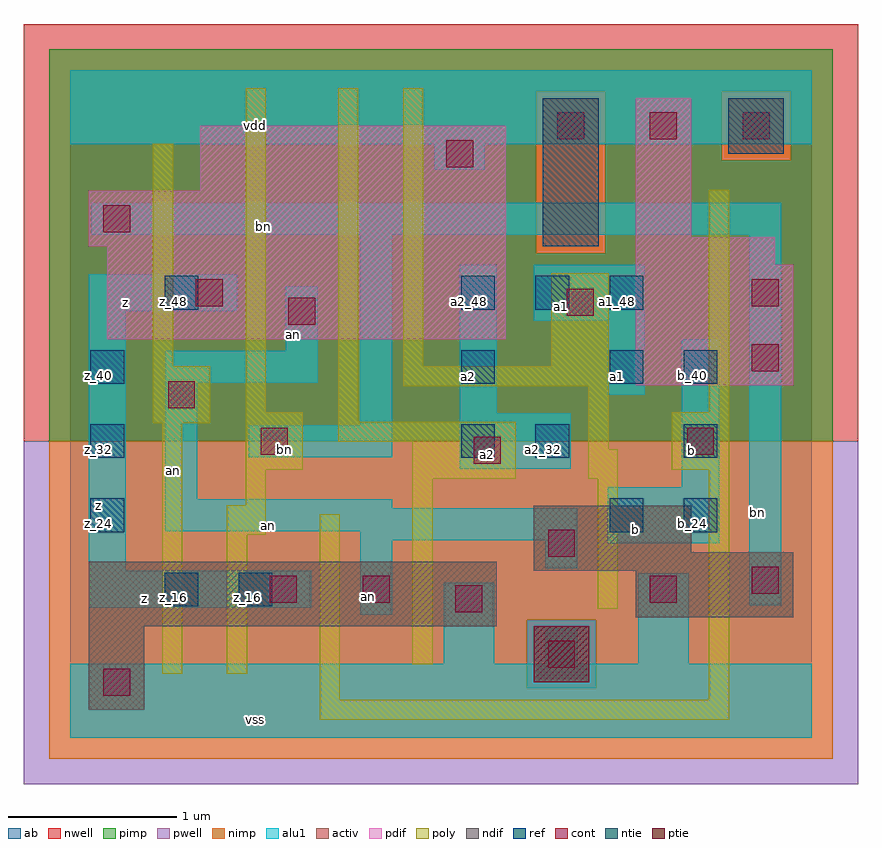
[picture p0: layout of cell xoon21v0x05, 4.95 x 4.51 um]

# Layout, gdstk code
import gdstk
lib = gdstk.Library(unit=1e-6, precision=2.5e-09)
def R(c, l, rs):  # rectangles x0, y0, x1, y1
    for r in rs: c.add(gdstk.rectangle(r[:2], r[2:], *l))
def A(c, l, x, y, w, h, nx, ny, dx, dy):  # array of equal rectangles
    R(c, l, [(x+i*dx, y+j*dy, x+i*dx+w, y+j*dy+h) for i in range(nx) for j in range(ny)])
ndif = (3, 0)
pdif = (4, 0)
ntie = (5, 0)
ptie = (6, 0)
ref = (24, 0)
cont = (25, 0)
pwell = (41, 0)
nwell = (42, 0)
activ = (43, 0)
pimp = (44, 0)
nimp = (45, 0)
poly = (46, 0)
alu1 = (49, 0)
ab = (63, 0)

xoon21v0x05 = lib.new_cell('xoon21v0x05')
R(xoon21v0x05, ndif, [(0.11,0.165,0.44,0.66), (0.11,0.66,2.53,1.045), (3.355,0.715,4.29,0.99), (2.75,0.99,4.29,1.1), (2.75,1.1,3.685,1.375)])
R(xoon21v0x05, pdif, [(3.355,2.09,4.29,2.805), (0.22,2.365,2.585,2.915), (3.355,2.805,4.18,2.97), (0.11,2.915,2.585,3.245), (3.355,2.97,3.685,3.795), (0.77,3.245,2.585,3.63)])
R(xoon21v0x05, ntie, [(2.805,2.915,3.135,3.795), (3.905,3.465,4.235,3.795)])
R(xoon21v0x05, ptie, [(2.75,0.33,3.08,0.66)])
A(xoon21v0x05, ref, 0.12, 1.22, 0.2, 0.2, 1, 3, 0, 0.44)
A(xoon21v0x05, ref, 3.64, 1.22, 0.2, 0.2, 1, 3, 0, 0.44)
A(xoon21v0x05, ref, 2.32, 2.54, 0.2, 0.2, 3, 1, 0.44, 0)
R(xoon21v0x05, ref, [(0.56,0.78,0.76,0.98), (1,0.78,1.2,0.98), (3.2,1.22,3.4,1.42), (2.32,1.66,2.52,1.86), (2.76,1.66,2.96,1.86), (2.32,2.1,2.52,2.3), (3.2,2.1,3.4,2.3), (0.56,2.54,0.76,2.74)])
A(xoon21v0x05, cont, 2.89, 3.55, 0.16, 0.16, 3, 1, 0.55, 0)
R(xoon21v0x05, cont, [(0.195,0.25,0.355,0.41), (2.835,0.415,2.995,0.575), (2.285,0.745,2.445,0.905), (1.185,0.8,1.345,0.96), (1.735,0.8,1.895,0.96), (3.44,0.8,3.6,0.96), (4.045,0.855,4.205,1.015), (2.835,1.075,2.995,1.235), (2.395,1.625,2.555,1.785), (1.13,1.68,1.29,1.84), (3.66,1.68,3.82,1.84), (0.58,1.955,0.74,2.115), (4.045,2.175,4.205,2.335), (1.295,2.45,1.455,2.61), (2.945,2.505,3.105,2.665), (0.745,2.56,0.905,2.72), (4.045,2.56,4.205,2.72), (0.195,3,0.355,3.16), (2.23,3.385,2.39,3.545)])
R(xoon21v0x05, pwell, [(-0.275,-0.275,4.675,1.76)])
R(xoon21v0x05, nwell, [(-0.275,1.76,4.675,4.235)])
R(xoon21v0x05, activ, [(0.11,0.165,0.44,0.66), (2.75,0.33,3.08,0.66), (0.11,0.66,2.53,1.045), (3.355,0.715,4.29,0.99), (2.75,0.99,4.29,1.1), (2.75,1.1,3.685,1.375), (3.355,2.09,4.29,2.805), (0.22,2.365,2.585,2.915), (3.355,2.805,4.18,2.97), (0.11,2.915,2.585,3.245), (2.805,2.915,3.135,3.795), (3.355,2.97,3.685,3.795), (0.77,3.245,2.585,3.63), (3.905,3.465,4.235,3.795)])
R(xoon21v0x05, pimp, [(2.71,0.29,3.12,0.7), (-0.125,1.76,4.525,2.875), (-0.125,2.875,2.765,3.835), (3.175,2.875,4.525,3.425), (3.175,3.425,3.865,3.835), (4.275,3.425,4.525,3.835), (-0.125,3.835,4.525,4.085)])
R(xoon21v0x05, nimp, [(-0.125,-0.125,4.525,0.29), (-0.125,0.29,2.71,0.7), (3.12,0.29,4.525,0.7), (-0.125,0.7,4.525,1.76), (2.765,2.875,3.175,3.835), (3.865,3.425,4.275,3.835)])
R(xoon21v0x05, poly, [(1.48,0.105,3.91,0.225), (1.48,0.225,1.6,1.325), (3.79,0.225,3.91,1.59), (0.545,0.38,0.665,1.865), (0.93,0.38,1.05,1.205), (2.03,0.435,2.15,1.535), (3.13,0.765,3.25,1.535), (0.93,1.205,1.16,1.38), (1.04,1.38,1.16,1.59), (2.03,1.535,2.645,1.755), (3.075,1.535,3.25,1.71), (1.04,1.59,1.38,1.93), (3.57,1.59,3.91,1.93), (3.075,1.71,3.195,2.085), (1.59,1.755,2.645,1.875), (0.49,1.865,0.83,2.205), (1.59,1.875,1.71,3.855), (1.04,1.93,1.16,3.855), (3.79,1.93,3.91,3.25), (1.975,2.085,3.195,2.205), (0.49,2.205,0.61,3.525), (1.975,2.205,2.095,3.855), (2.855,2.205,3.195,2.755)])
R(xoon21v0x05, alu1, [(0,0,4.4,0.44), (2.215,0.44,2.515,0.92), (2.82,0.44,3.01,0.645), (3.37,0.44,3.67,0.975), (1.72,0.73,1.91,1.17), (0.11,0.77,1.43,0.99), (4.03,0.785,4.22,2.985), (0.11,0.99,0.33,2.53), (2.82,1.005,3.01,1.17), (3.19,1.155,3.85,1.485), (1.72,1.17,3.01,1.225), (0.565,1.225,3.01,1.36), (0.565,1.36,1.91,1.415), (0.565,1.415,0.755,2.105), (3.63,1.485,3.85,2.365), (2.31,1.595,2.97,1.925), (1.06,1.665,1.91,1.855), (1.72,1.855,1.91,2.985), (2.31,1.925,2.53,2.805), (3.19,2.035,3.41,2.475), (0.565,2.105,1.47,2.295), (1.28,2.295,1.47,2.68), (2.75,2.475,3.41,2.805), (0.11,2.53,0.99,2.75), (0.125,2.985,4.22,3.175), (2.16,3.37,2.46,3.52), (0,3.52,4.4,3.96)])
R(xoon21v0x05, ab, [(0,0,4.4,3.96)])
xoon21v0x05.add(gdstk.Label('vss', (1.1,0.11), layer=49, texttype=0))
xoon21v0x05.add(gdstk.Label('bn', (4.0775,1.335), layer=49, texttype=0))
xoon21v0x05.add(gdstk.Label('b', (3.355,1.2375), layer=49, texttype=0))
xoon21v0x05.add(gdstk.Label('an', (1.7675,0.84), layer=49, texttype=0))
xoon21v0x05.add(gdstk.Label('z', (0.44,0.825), layer=49, texttype=0))
xoon21v0x05.add(gdstk.Label('an', (1.175,1.2575), layer=49, texttype=0))
xoon21v0x05.add(gdstk.Label('b', (3.685,1.705), layer=49, texttype=0))
xoon21v0x05.add(gdstk.Label('a2', (2.475,1.6775), layer=49, texttype=0))
xoon21v0x05.add(gdstk.Label('a1', (3.245,2.145), layer=49, texttype=0))
xoon21v0x05.add(gdstk.Label('a1', (2.915,2.5575), layer=49, texttype=0))
xoon21v0x05.add(gdstk.Label('a2', (2.365,2.145), layer=49, texttype=0))
xoon21v0x05.add(gdstk.Label('bn', (1.2725,1.7125), layer=49, texttype=0))
xoon21v0x05.add(gdstk.Label('an', (0.6125,1.5875), layer=49, texttype=0))
xoon21v0x05.add(gdstk.Label('an', (1.3275,2.39), layer=49, texttype=0))
xoon21v0x05.add(gdstk.Label('z', (0.165,1.375), layer=49, texttype=0))
xoon21v0x05.add(gdstk.Label('z', (0.33,2.585), layer=49, texttype=0))
xoon21v0x05.add(gdstk.Label('bn', (1.1475,3.0325), layer=49, texttype=0))
xoon21v0x05.add(gdstk.Label('vdd', (1.1,3.63), layer=49, texttype=0))
xoon21v0x05.add(gdstk.Label('z_16', (0.61,0.83), layer=24, texttype=0))
xoon21v0x05.add(gdstk.Label('z_48', (0.61,2.59), layer=24, texttype=0))
xoon21v0x05.add(gdstk.Label('z_16', (1.05,0.83), layer=24, texttype=0))
xoon21v0x05.add(gdstk.Label('z_24', (0.17,1.27), layer=24, texttype=0))
xoon21v0x05.add(gdstk.Label('z_32', (0.17,1.71), layer=24, texttype=0))
xoon21v0x05.add(gdstk.Label('z_40', (0.17,2.15), layer=24, texttype=0))
xoon21v0x05.add(gdstk.Label('a2_32', (2.37,1.71), layer=24, texttype=0))
xoon21v0x05.add(gdstk.Label('a2_40', (2.37,2.15), layer=24, texttype=0))
xoon21v0x05.add(gdstk.Label('a2_48', (2.37,2.59), layer=24, texttype=0))
xoon21v0x05.add(gdstk.Label('a2_32', (2.81,1.71), layer=24, texttype=0))
xoon21v0x05.add(gdstk.Label('a1_48', (2.81,2.59), layer=24, texttype=0))
xoon21v0x05.add(gdstk.Label('b_24', (3.25,1.27), layer=24, texttype=0))
xoon21v0x05.add(gdstk.Label('a1_40', (3.25,2.15), layer=24, texttype=0))
xoon21v0x05.add(gdstk.Label('a1_48', (3.25,2.59), layer=24, texttype=0))
xoon21v0x05.add(gdstk.Label('b_24', (3.69,1.27), layer=24, texttype=0))
xoon21v0x05.add(gdstk.Label('b_32', (3.69,1.71), layer=24, texttype=0))
xoon21v0x05.add(gdstk.Label('b_40', (3.69,2.15), layer=24, texttype=0))

lib.write_gds('xoon21v0x05.gds')
